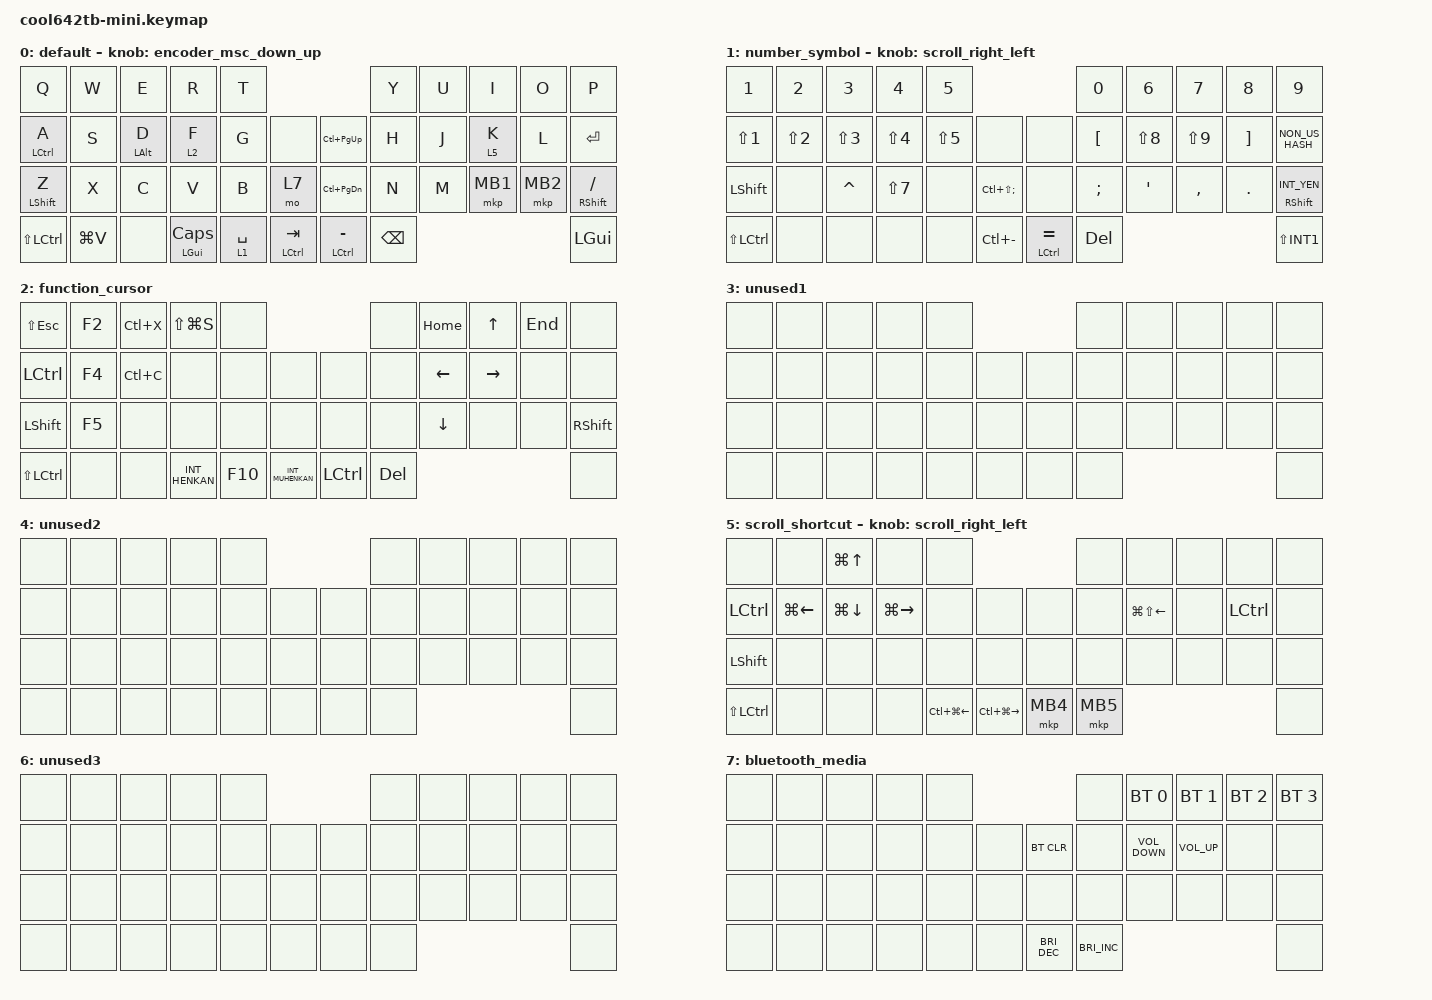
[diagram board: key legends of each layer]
#include <behaviors.dtsi>
#include <dt-bindings/zmk/bt.h>
#include <dt-bindings/zmk/keys.h>
#include <dt-bindings/zmk/pointing.h>

#define MOUSE 4
#define SCROLL 5
#define NUM 6
#define ZMK_POINTING_DEFAULT_SCRL_VAL 80

&mt {
    flavor = "balanced";
    quick-tap-ms = <0>;
};

/ {
    combos { compatible = "zmk,combos"; };

    behaviors {
        encoder_msc_down_up: encoder_msc_down_up {
            compatible = "zmk,behavior-sensor-rotate";
            label = "ENCODER_MSC_DOWN_UP";
            #sensor-binding-cells = <0>;
            bindings = <&msc SCRL_UP>, <&msc SCRL_DOWN>;

            tap-ms = <20>;
        };

        scroll_right_left: scroll_right_left {
            compatible = "zmk,behavior-sensor-rotate";
            label = "SCROLL_RIGHT_LEFT";
            #sensor-binding-cells = <0>;
            bindings = <&msc SCRL_LEFT>, <&msc SCRL_RIGHT>;

            tap-ms = <20>;
        };
    };

    keymap {
        compatible = "zmk,keymap";

        default {
            bindings = <
&kp Q                 &kp W      &kp E           &kp R                  &kp T                                                          &kp Y          &kp U  &kp I     &kp O     &kp P
&mt LEFT_CONTROL A    &kp S      &mt LEFT_ALT D  &lt 2 F                &kp G        &none                     &kp LC(PAGE_UP)         &kp H          &kp J  &lt 5 K   &kp L     &kp ENTER
&mt LEFT_SHIFT Z      &kp X      &kp C           &kp V                  &kp B        &mo 7                     &kp LC(PAGE_DOWN)       &kp N          &kp M  &mkp MB1  &mkp MB2  &mt RIGHT_SHIFT SLASH
&kp LS(LEFT_CONTROL)  &kp LG(V)  &none           &mt LEFT_GUI CAPSLOCK  &lt 1 SPACE  &mt LEFT_CONTROL TAB      &mt LEFT_CONTROL MINUS  &kp BACKSPACE                             &kp LEFT_GUI
            >;

            sensor-bindings = <&encoder_msc_down_up>;
        };

        number_symbol {
            bindings = <
&kp N1                &kp N2      &kp N3      &kp N4      &kp N5                                                         &kp N0            &kp N6            &kp N7      &kp N8             &kp N9
&kp LS(N1)            &kp LS(N2)  &kp LS(N3)  &kp LS(N4)  &kp LS(N5)  &none                      &none                   &kp LEFT_BRACKET  &kp LS(N8)        &kp LS(N9)  &kp RIGHT_BRACKET  &kp NON_US_HASH
&kp LEFT_SHIFT        &none       &kp CARET   &kp LS(N7)  &none       &kp LC(LS(SEMICOLON))      &none                   &kp SEMICOLON     &kp SINGLE_QUOTE  &kp COMMA   &kp PERIOD         &mt RIGHT_SHIFT INT_YEN
&kp LS(LEFT_CONTROL)  &none       &none       &none       &none       &kp LC(MINUS)              &mt LEFT_CONTROL EQUAL  &kp DELETE                                                         &kp LS(INT1)
            >;

            sensor-bindings = <&scroll_right_left>;
        };

        function_cursor {
            bindings = <
&kp LS(ESCAPE)        &kp F2  &kp LC(X)  &kp LS(LG(S))   &none                                            &none       &kp HOME        &kp UP_ARROW     &kp END  &none
&kp LEFT_CONTROL      &kp F4  &kp LC(C)  &none           &none    &none                 &none             &none       &kp LEFT_ARROW  &kp RIGHT_ARROW  &none    &none
&kp LEFT_SHIFT        &kp F5  &none      &none           &none    &none                 &none             &none       &kp DOWN_ARROW  &none            &none    &kp RIGHT_SHIFT
&kp LS(LEFT_CONTROL)  &none   &none      &kp INT_HENKAN  &kp F10  &kp INT_MUHENKAN      &kp LEFT_CONTROL  &kp DELETE                                            &none
            >;
        };

        unused1 {
            bindings = <
&none  &none  &none  &none  &none                    &none  &none  &none  &none  &none
&none  &none  &none  &none  &none  &none      &none  &none  &none  &none  &none  &none
&none  &none  &none  &none  &none  &none      &none  &none  &none  &none  &none  &none
&none  &none  &none  &none  &none  &none      &none  &none                       &none
            >;
        };

        unused2 {
            bindings = <
&none  &none  &none  &none  &none                    &none  &none  &none  &none  &none
&none  &none  &none  &none  &none  &none      &none  &none  &none  &none  &none  &none
&none  &none  &none  &none  &none  &none      &none  &none  &none  &none  &none  &none
&none  &none  &none  &none  &none  &none      &none  &none                       &none
            >;
        };

        scroll_shortcut {
            bindings = <
&none                 &none               &kp LG(UP_ARROW)    &none                &none                                                          &none     &none                   &none  &none             &none
&kp LEFT_CONTROL      &kp LG(LEFT_ARROW)  &kp LG(DOWN_ARROW)  &kp LG(RIGHT_ARROW)  &none                   &none                        &none     &none     &kp LG(LS(LEFT_ARROW))  &none  &kp LEFT_CONTROL  &none
&kp LEFT_SHIFT        &none               &none               &none                &none                   &none                        &none     &none     &none                   &none  &none             &none
&kp LS(LEFT_CONTROL)  &none               &none               &none                &kp LC(LG(LEFT_ARROW))  &kp LC(LG(RIGHT_ARROW))      &mkp MB4  &mkp MB5                                                   &none
            >;

            sensor-bindings = <&scroll_right_left>;
        };

        unused3 {
            bindings = <
&none  &none  &none  &none  &none                    &none  &none  &none  &none  &none
&none  &none  &none  &none  &none  &none      &none  &none  &none  &none  &none  &none
&none  &none  &none  &none  &none  &none      &none  &none  &none  &none  &none  &none
&none  &none  &none  &none  &none  &none      &none  &none                       &none
            >;
        };

        bluetooth_media {
            bindings = <
&none  &none  &none  &none  &none                                   &none                 &bt BT_SEL 0       &bt BT_SEL 1     &bt BT_SEL 2  &bt BT_SEL 3
&none  &none  &none  &none  &none  &none      &bt BT_CLR            &none                 &kp C_VOLUME_DOWN  &kp C_VOLUME_UP  &none         &none
&none  &none  &none  &none  &none  &none      &none                 &none                 &none              &none            &none         &none
&none  &none  &none  &none  &none  &none      &kp C_BRIGHTNESS_DEC  &kp C_BRIGHTNESS_INC                                                    &none
            >;
        };
    };
};
